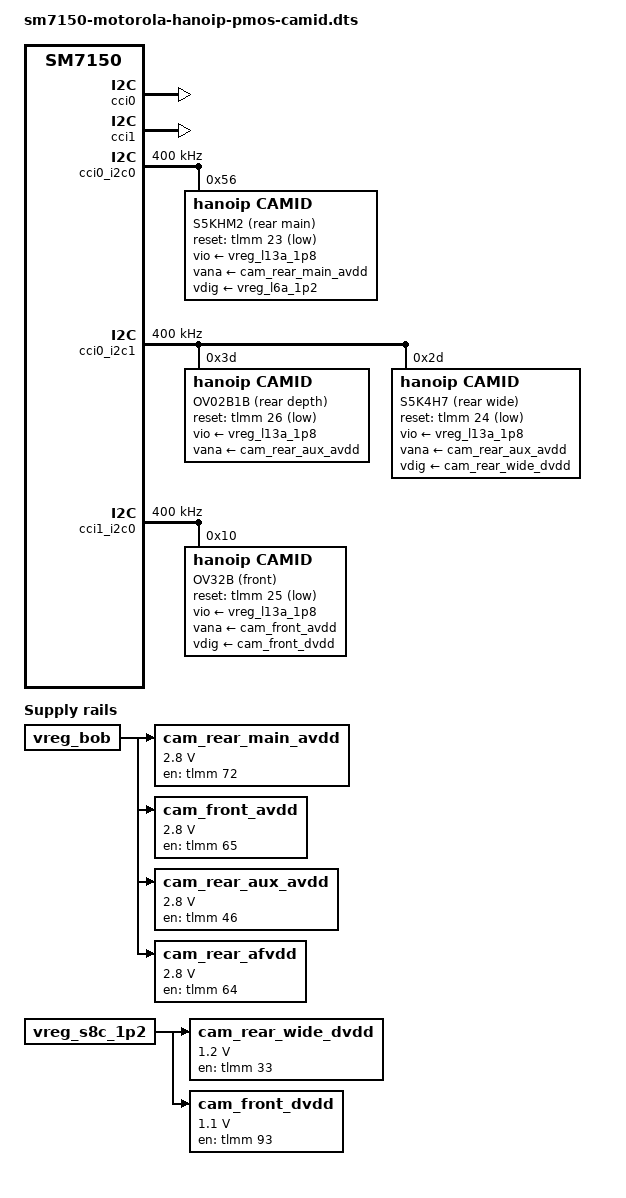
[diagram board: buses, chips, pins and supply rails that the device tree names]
// SPDX-License-Identifier: BSD-3-Clause
#include <dt-bindings/clock/qcom,sm7150-camcc.h>
#include "sm7150-motorola-hanoip-pmos-perif.dts"

/*
 * Camera bring-up, step 1: chip-ID probe only. Rails, MCLK and reset per
 * slot as in the vendor tree; the hanoip,camid nodes are only bound by
 * the hand-loaded hanoip-camid module, which powers one sensor up, reads
 * its ID and powers it down. CCI runs at 400 kHz for this test.
 *
 *   slot 0 rear main  S5KHM2  CCI0 m0 0x56  MCLK0 GPIO13  reset GPIO23
 *   slot 1 front      OV32B   CCI1 m0 0x10  MCLK2 GPIO15  reset GPIO25
 *   slot 2 rear depth OV02B1B CCI0 m1 0x3d  MCLK3 GPIO16  reset GPIO26
 *   slot 3 rear wide  S5K4H7  CCI0 m1 0x2d  MCLK1 GPIO14  reset GPIO24
 */
/ {
	cam_rear_main_avdd: regulator-cam-rear-main-avdd {
		compatible = "regulator-fixed";
		regulator-name = "cam_rear_main_avdd_2p8";
		regulator-min-microvolt = <2800000>;
		regulator-max-microvolt = <2800000>;
		gpio = <&tlmm 72 GPIO_ACTIVE_HIGH>;
		enable-active-high;
		startup-delay-us = <1000>;
		vin-supply = <&vreg_bob>;
	};

	cam_front_avdd: regulator-cam-front-avdd {
		compatible = "regulator-fixed";
		regulator-name = "cam_front_avdd_2p8";
		regulator-min-microvolt = <2800000>;
		regulator-max-microvolt = <2800000>;
		gpio = <&tlmm 65 GPIO_ACTIVE_HIGH>;
		enable-active-high;
		startup-delay-us = <1000>;
		vin-supply = <&vreg_bob>;
	};

	cam_rear_aux_avdd: regulator-cam-rear-aux-avdd {
		compatible = "regulator-fixed";
		regulator-name = "cam_rear_depth_wide_avdd_2p8";
		regulator-min-microvolt = <2800000>;
		regulator-max-microvolt = <2800000>;
		gpio = <&tlmm 46 GPIO_ACTIVE_HIGH>;
		enable-active-high;
		startup-delay-us = <1000>;
		vin-supply = <&vreg_bob>;
	};

	cam_rear_wide_dvdd: regulator-cam-rear-wide-dvdd {
		compatible = "regulator-fixed";
		regulator-name = "cam_rear_wide_dvdd_1p2";
		regulator-min-microvolt = <1200000>;
		regulator-max-microvolt = <1200000>;
		gpio = <&tlmm 33 GPIO_ACTIVE_HIGH>;
		enable-active-high;
		startup-delay-us = <1000>;
		vin-supply = <&vreg_s8c_1p2>;
	};

	cam_front_dvdd: regulator-cam-front-dvdd {
		compatible = "regulator-fixed";
		regulator-name = "cam_front_dvdd_1p1";
		regulator-min-microvolt = <1100000>;
		regulator-max-microvolt = <1100000>;
		gpio = <&tlmm 93 GPIO_ACTIVE_HIGH>;
		enable-active-high;
		startup-delay-us = <1000>;
		vin-supply = <&vreg_s8c_1p2>;
	};

	/* Focus motors (VCM); not used by the ID probe. */
	cam_rear_afvdd: regulator-cam-rear-afvdd {
		compatible = "regulator-fixed";
		regulator-name = "cam_rear_main_wide_afvdd_2p8";
		regulator-min-microvolt = <2800000>;
		regulator-max-microvolt = <2800000>;
		gpio = <&tlmm 64 GPIO_ACTIVE_HIGH>;
		enable-active-high;
		startup-delay-us = <1000>;
		vin-supply = <&vreg_bob>;
	};
};

&cci0 {
	status = "okay";
};

&cci1 {
	status = "okay";
};

&cci0_i2c0 {
	clock-frequency = <400000>;

	camid@56 {
		compatible = "hanoip,camid";
		reg = <0x56>;
		label = "S5KHM2 (rear main)";
		hanoip,id-reg = <0x0000>;
		hanoip,id-value = <0x1ad2>;

		vio-supply = <&vreg_l13a_1p8>;
		vana-supply = <&cam_rear_main_avdd>;
		vdig-supply = <&vreg_l6a_1p2>;
		hanoip,vdig-microvolt = <1104000>;
		clocks = <&camcc CAMCC_MCLK0_CLK>;
		reset-gpios = <&tlmm 23 GPIO_ACTIVE_LOW>;

		pinctrl-0 = <&cam_mclk0_default>;
		pinctrl-names = "default";
	};
};

&cci0_i2c1 {
	clock-frequency = <400000>;

	camid@3d {
		compatible = "hanoip,camid";
		reg = <0x3d>;
		label = "OV02B1B (rear depth)";
		hanoip,id-reg = <0x03>;
		hanoip,id-reg-bytes = <1>;
		hanoip,id-bytes = <1>;
		hanoip,id-value = <0x2b>;

		vio-supply = <&vreg_l13a_1p8>;
		vana-supply = <&cam_rear_aux_avdd>;
		clocks = <&camcc CAMCC_MCLK3_CLK>;
		reset-gpios = <&tlmm 26 GPIO_ACTIVE_LOW>;

		pinctrl-0 = <&cam_mclk3_default>;
		pinctrl-names = "default";
	};

	camid@2d {
		compatible = "hanoip,camid";
		reg = <0x2d>;
		label = "S5K4H7 (rear wide)";
		hanoip,id-reg = <0x0000>;
		hanoip,id-value = <0x487b>;

		vio-supply = <&vreg_l13a_1p8>;
		vana-supply = <&cam_rear_aux_avdd>;
		vdig-supply = <&cam_rear_wide_dvdd>;
		clocks = <&camcc CAMCC_MCLK1_CLK>;
		reset-gpios = <&tlmm 24 GPIO_ACTIVE_LOW>;

		pinctrl-0 = <&cam_mclk1_default>;
		pinctrl-names = "default";
	};
};

&cci1_i2c0 {
	clock-frequency = <400000>;

	camid@10 {
		compatible = "hanoip,camid";
		reg = <0x10>;
		label = "OV32B (front)";
		hanoip,id-reg = <0x300b>;
		hanoip,id-value = <0x3242>;

		vio-supply = <&vreg_l13a_1p8>;
		vana-supply = <&cam_front_avdd>;
		vdig-supply = <&cam_front_dvdd>;
		clocks = <&camcc CAMCC_MCLK2_CLK>;
		reset-gpios = <&tlmm 25 GPIO_ACTIVE_LOW>;

		pinctrl-0 = <&cam_mclk2_default>;
		pinctrl-names = "default";
	};
};

&tlmm {
	cam_mclk0_default: cam-mclk0-default-state {
		pins = "gpio13";
		function = "cam_mclk";
		drive-strength = <2>;
		bias-disable;
	};

	cam_mclk1_default: cam-mclk1-default-state {
		pins = "gpio14";
		function = "cam_mclk";
		drive-strength = <2>;
		bias-disable;
	};

	cam_mclk2_default: cam-mclk2-default-state {
		pins = "gpio15";
		function = "cam_mclk";
		drive-strength = <2>;
		bias-disable;
	};

	cam_mclk3_default: cam-mclk3-default-state {
		pins = "gpio16";
		function = "cam_mclk";
		drive-strength = <2>;
		bias-disable;
	};
};
